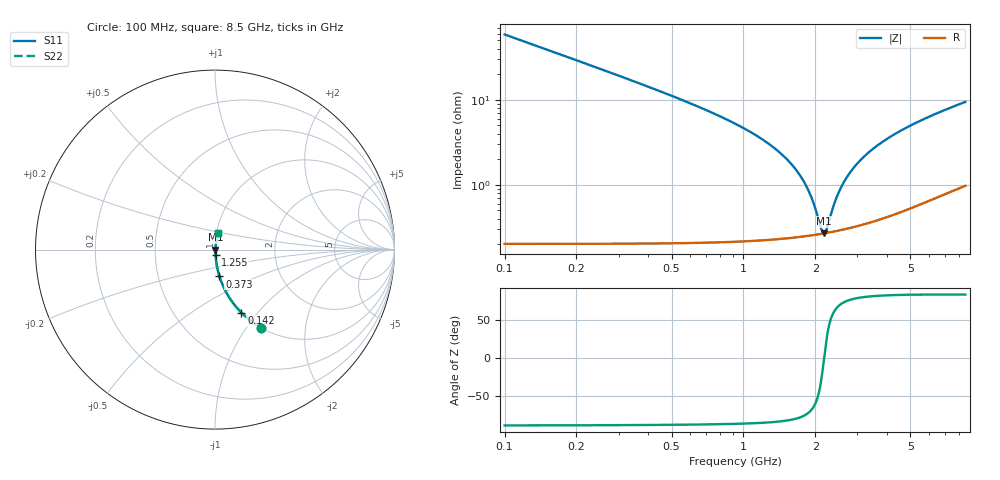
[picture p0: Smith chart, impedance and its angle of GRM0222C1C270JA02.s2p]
!Murata Part Number: GRM0222C1C270JA02
!These Parameters are Measured in Series Mode Connection
!Data Generated on Mar 30, 2021
!  o--ll--o
!Port1  Port2
!  o------o
!Operation Temp=25[degC], DC Bias Voltage=0[V]
!Freq. Start=100[MHz] Stop=9[GHz] 401[Steps]
# Hz S RI R 50
!Freq.(Hz) S11(Real) S11(Imag) S21(Real) S21(Imag) S12(Real) S12(Imag) S22(Real) S22(Imag)
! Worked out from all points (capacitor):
!   401 points, 100 MHz to 8.5 GHz, reference 50 ohm
!   read as one part in series: C = 27 pF near 142 MHz
!   lowest |Z| = 268 mohm at 2.179 GHz (marker M1)
!   series resonance near 2.177 GHz, so ESL is about 200 pH
!   S11 on the Smith chart (normalised r, x): 100 MHz: 1.00, -1.18; 142 MHz: 1.00, -0.83; 373 MHz: 1.00, -0.31; 1.255 GHz: 1.00, -0.06; 8.5 GHz: 1.02, +0.19
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1e8  0.2578 -0.4357  0.7422 0.4357  0.7422 0.4357  0.2578 -0.4357
1.42e8  0.1471 -0.3518  0.8529 0.3518  0.8529 0.3518  0.1471 -0.3518
2.26e8  0.0641 -0.241  0.9359 0.241  0.9359 0.241  0.0641 -0.241
3.73e8  0.0249 -0.1493  0.9751 0.1493  0.9751 0.1493  0.0249 -0.1493
6.67e8  0.0084 -0.0792  0.9916 0.0792  0.9916 0.0792  0.0084 -0.0792
1.255e9  0.0032 -0.0312  0.9968 0.0312  0.9968 0.0312  0.0032 -0.0312
1.507e9  0.00274 -0.0202  0.9973 0.0202  0.9973 0.0202  0.00274 -0.0202
1.675e9  0.00261 -0.0143  0.9974 0.0143  0.9974 0.0143  0.00261 -0.0143
1.822e9  0.00257 -0.00962  0.9974 0.00962  0.9974 0.00962  0.00257 -0.00962
1.948e9  0.00258 -0.00598  0.9974 0.00598  0.9974 0.00598  0.00258 -0.00598
2.116e9  0.00264 -0.00153  0.9974 0.00153  0.9974 0.00153  0.00264 -0.00153
2.179e9  0.00267 4.8e-05  0.9973 -4.8e-05  0.9973 -4.8e-05  0.00267 4.8e-05
2.221e9  0.0027 0.00107  0.9973 -0.00107  0.9973 -0.00107  0.0027 0.00107
2.389e9  0.00283 0.00499  0.9972 -0.00499  0.9972 -0.00499  0.00283 0.00499
2.536e9  0.00297 0.00821  0.997 -0.00821  0.997 -0.00821  0.00297 0.00821
2.704e9  0.00316 0.0117  0.9968 -0.0117  0.9968 -0.0117  0.00316 0.0117
2.914e9  0.00343 0.0158  0.9966 -0.0158  0.9966 -0.0158  0.00343 0.0158
3.481e9  0.00433 0.0259  0.9957 -0.0259  0.9957 -0.0259  0.00433 0.0259
4.3e9  0.00597 0.0388  0.994 -0.0388  0.994 -0.0388  0.00597 0.0388
5.707e9  0.0095 0.0583  0.9905 -0.0583  0.9905 -0.0583  0.0095 0.0583
7.114e9  0.0137 0.0757  0.9863 -0.0757  0.9863 -0.0757  0.0137 0.0757
8.5e9  0.0181 0.0915  0.9819 -0.0915  0.9819 -0.0915  0.0181 0.0915
